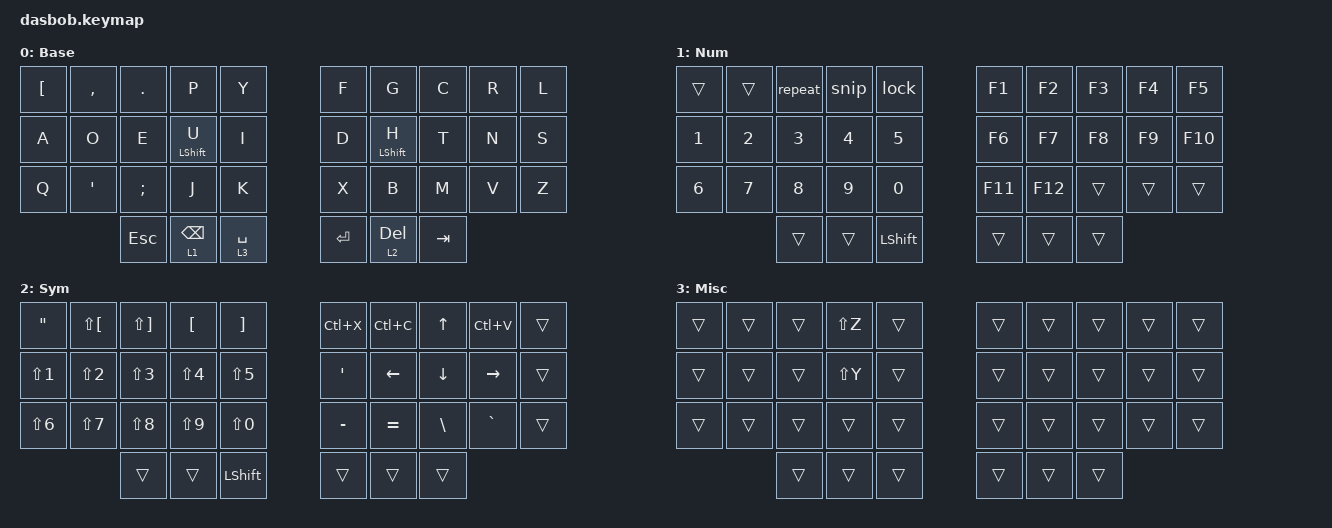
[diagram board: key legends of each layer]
#include <behaviors.dtsi>
#include <dt-bindings/zmk/keys.h>

/ {
    behaviors {
        hm: homerow_mods {
            compatible = "zmk,behavior-hold-tap";
            label = "HOMEROW_MODS";
            bindings = <&kp>, <&kp>;

            #binding-cells = <2>;
            tapping-term-ms = <200>;
            quick-tap-ms = <0>;
            flavor = "tap-preferred";
        };
    };

    macros {
        repeat: repeat {
            compatible = "zmk,behavior-macro";
            #binding-cells = <0>;
            bindings = <&kp NUMBER_2 &kp NUMBER_4 &kp NUMBER_2 &kp NUMBER_4 &kp NUMBER_2 &kp NUMBER_4>;
            label = "REPEAT";
        };

        snip: snip {
            compatible = "zmk,behavior-macro";
            #binding-cells = <0>;
            bindings = <&kp LSHFT &kp LEFT_GUI &kp S>;
            label = "SNIP";
        };

        lock: lock {
            compatible = "zmk,behavior-macro";
            #binding-cells = <0>;
            bindings = <&kp LEFT_GUI &kp L>;
            label = "LOCK";
        };
    };

    keymap {
        compatible = "zmk,keymap";

        // This is a sample keymap intended to be replaced with your own

        Base {
            bindings = <
&kp LBKT  &kp COMMA       &kp PERIOD     &kp P             &kp Y        &kp F      &kp G        &kp C    &kp R  &kp L
&kp A     &kp O           &kp E          &hm LEFT_SHIFT U  &kp I        &kp D      &hm LSHFT H  &kp T    &kp N  &kp S
&kp Q     &kp APOSTROPHE  &kp SEMICOLON  &kp J             &kp K        &kp X      &kp B        &kp M    &kp V  &kp Z
                          &kp ESCAPE     &lt 1 BACKSPACE   &lt 3 SPACE  &kp ENTER  &lt 2 DEL    &kp TAB
            >;
        };

        Num {
            bindings = <
&trans        &trans        &repeat  &snip   &lock           &kp F1   &kp F2   &kp F3  &kp F4  &kp F5
&kp NUMBER_1  &kp N2        &kp N3   &kp N4  &kp N5          &kp F6   &kp F7   &kp F8  &kp F9  &kp F10
&kp NUMBER_6  &kp NUMBER_7  &kp N8   &kp N9  &kp N0          &kp F11  &kp F12  &trans  &trans  &trans
                            &trans   &trans  &kp LEFT_SHIFT  &trans   &trans   &trans
            >;
        };

        Sym {
            bindings = <
&kp DOUBLE_QUOTES  &kp LS(LEFT_BRACKET)  &kp LS(RIGHT_BRACKET)  &kp LEFT_BRACKET  &kp RIGHT_BRACKET  &kp LC(X)         &kp LC(C)  &kp UP         &kp LC(V)  &trans
&kp LS(NUMBER_1)   &kp LS(NUMBER_2)      &kp LS(NUMBER_3)       &kp LS(NUMBER_4)  &kp LS(N5)         &kp SINGLE_QUOTE  &kp LEFT   &kp DOWN       &kp RIGHT  &trans
&kp LS(NUMBER_6)   &kp LS(N7)            &kp LS(N8)             &kp LS(N9)        &kp LS(N0)         &kp MINUS         &kp EQUAL  &kp BACKSLASH  &kp GRAVE  &trans
                                         &trans                 &trans            &kp LSHFT          &trans            &trans     &trans
            >;
        };

        Misc {
            bindings = <
&trans  &trans  &trans  &kp LS(Z)  &trans  &trans  &trans  &trans  &trans  &trans
&trans  &trans  &trans  &kp LS(Y)  &trans  &trans  &trans  &trans  &trans  &trans
&trans  &trans  &trans  &trans     &trans  &trans  &trans  &trans  &trans  &trans
                &trans  &trans     &trans  &trans  &trans  &trans
            >;
        };
    };
};
